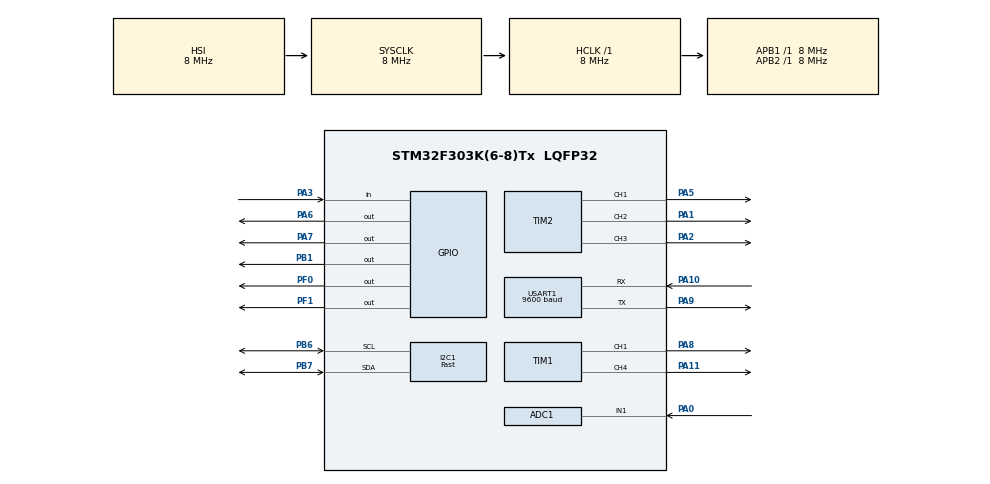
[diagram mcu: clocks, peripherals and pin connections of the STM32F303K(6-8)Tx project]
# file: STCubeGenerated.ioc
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ADC1.Channel-0\#ChannelRegularConversion=ADC_CHANNEL_1
ADC1.ClockPrescaler=ADC_CLOCK_ASYNC_DIV1
ADC1.ContinuousConvMode=ENABLE
ADC1.DMAContinuousRequests=DISABLE
ADC1.DataAlign=ADC_DATAALIGN_RIGHT
ADC1.DiscontinuousConvMode=DISABLE
ADC1.EOCSelection=ADC_EOC_SINGLE_CONV
ADC1.EnableAnalogWatchDog1=false
ADC1.EnableAnalogWatchDog2=false
ADC1.EnableAnalogWatchDog3=false
ADC1.EnableInjectedConversion=ENABLE
ADC1.EnableRegularConversion=ENABLE
ADC1.ExternalTrigConv=ADC_SOFTWARE_START
ADC1.ExternalTrigConvEdge=ADC_EXTERNALTRIGCONVEDGE_NONE
ADC1.InjNumberOfConversion=0
ADC1.LowPowerAutoWait=DISABLE
ADC1.NbrOfConversion=1
ADC1.NbrOfConversionFlag=1
ADC1.Offset-0\#ChannelRegularConversion=0
ADC1.OffsetNumber-0\#ChannelRegularConversion=ADC_OFFSET_NONE
ADC1.Overrun=ADC_OVR_DATA_OVERWRITTEN
ADC1.Rank-0\#ChannelRegularConversion=1
ADC1.Resolution=ADC_RESOLUTION_12B
ADC1.SamplingTime-0\#ChannelRegularConversion=ADC_SAMPLETIME_1CYCLE_5
ADC1.ScanConvMode=ADC_SCAN_DISABLE
ADC1.SubFamily=STM32F303x8
ADC1.master=1
I2C1.I2C_Speed_Mode=I2C_Fast
I2C1.OwnAddress=0x27
I2C1.Timing=0x0000020B
Mcu.Family=STM32F3
Mcu.Name=STM32F303K(6-8)Tx
Mcu.Package=LQFP32
NVIC.PriorityGroup=NVIC_PRIORITYGROUP_4
NVIC.USART1_IRQn=true\:0\:0\:false\:false\:true\:true
PA0.Mode=IN1-Single-Ended
PA0.Signal=ADC1_IN1
PA1.Signal=S_TIM2_CH2
PA10.Mode=Asynchronous
PA10.Signal=USART1_RX
PA11.Signal=S_TIM1_CH4
PA2.Signal=S_TIM2_CH3
PA3.Signal=GPIO_Input
PA5.Signal=S_TIM2_CH1_ETR
PA6.Signal=GPIO_Output
PA7.Signal=GPIO_Output
PA8.Signal=S_TIM1_CH1
PA9.Mode=Asynchronous
PA9.Signal=USART1_TX
PB1.Signal=GPIO_Output
PB6.GPIO_FM6=SYSCFG_CFGR1_I2C_PB6_FMP
PB6.Mode=I2C
PB6.Signal=I2C1_SCL
PB7.GPIO_FM7=SYSCFG_CFGR1_I2C_PB7_FMP
PB7.Mode=I2C
PB7.Signal=I2C1_SDA
PF0\ /\ OSC_IN.Signal=GPIO_Output
PF1\ /\ OSC_OUT.Signal=GPIO_Output
ProjectManager.HeapSize=0x200
ProjectManager.StackSize=0x400
ProjectManager.TargetToolchain=MDK-ARM V5
RCC.AHBFreq_Value=8000000
RCC.APB1Freq_Value=8000000
RCC.APB2Freq_Value=8000000
RCC.CortexFreq_Value=8000000
RCC.HSE_VALUE=8000000
RCC.HSI_VALUE=8000000
RCC.PLLMUL=RCC_PLL_MUL4
RCC.SYSCLKFreq_VALUE=8000000
SH.S_TIM1_CH1.0=TIM1_CH1,PWM Generation1 CH1
SH.S_TIM1_CH4.0=TIM1_CH4,PWM Generation4 CH4
SH.S_TIM2_CH1_ETR.0=TIM2_CH1,PWM Generation1 CH1
SH.S_TIM2_CH2.0=TIM2_CH2,PWM Generation2 CH2
SH.S_TIM2_CH3.0=TIM2_CH3,PWM Generation3 CH3
TIM1.Channel-PWM\ Generation1\ CH1=TIM_CHANNEL_1
TIM1.Channel-PWM\ Generation4\ CH4=TIM_CHANNEL_4
TIM2.Channel-PWM\ Generation1\ CH1=TIM_CHANNEL_1
TIM2.Channel-PWM\ Generation2\ CH2=TIM_CHANNEL_2
TIM2.Channel-PWM\ Generation3\ CH3=TIM_CHANNEL_3
USART1.BaudRate=9600
USART1.VirtualMode-Asynchronous=VM_ASYNC
USART1.WordLength=WORDLENGTH_8B
VP_TIM1_VS_ClockSourceINT.Mode=Internal
VP_TIM2_VS_ClockSourceINT.Mode=Internal
board=STCubeGenerated

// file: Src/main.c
/**
  ******************************************************************************
  * File Name          : main.c
  * Description        : Main program body
  ******************************************************************************
  ** This notice applies to any and all portions of this file
  * that are not between comment pairs USER CODE BEGIN and
  * USER CODE END. Other portions of this file, whether
  * inserted by the user or by software development tools
  * are owned by their respective copyright owners.
  *
  * COPYRIGHT(c) 2019 STMicroelectronics
  *
  * Redistribution and use in source and binary forms, with or without modification,
  * are permitted provided that the following conditions are met:
  *   1. Redistributions of source code must retain the above copyright notice,
  *      this list of conditions and the following disclaimer.
  *   2. Redistributions in binary form must reproduce the above copyright notice,
  *      this list of conditions and the following disclaimer in the documentation
  *      and/or other materials provided with the distribution.
  *   3. Neither the name of STMicroelectronics nor the names of its contributors
  *      may be used to endorse or promote products derived from this software
  *      without specific prior written permission.
  *
  * THIS SOFTWARE IS PROVIDED BY THE COPYRIGHT HOLDERS AND CONTRIBUTORS "AS IS"
  * AND ANY EXPRESS OR IMPLIED WARRANTIES, INCLUDING, BUT NOT LIMITED TO, THE
  * IMPLIED WARRANTIES OF MERCHANTABILITY AND FITNESS FOR A PARTICULAR PURPOSE ARE
  * DISCLAIMED. IN NO EVENT SHALL THE COPYRIGHT HOLDER OR CONTRIBUTORS BE LIABLE
  * FOR ANY DIRECT, INDIRECT, INCIDENTAL, SPECIAL, EXEMPLARY, OR CONSEQUENTIAL
  * DAMAGES (INCLUDING, BUT NOT LIMITED TO, PROCUREMENT OF SUBSTITUTE GOODS OR
  * SERVICES; LOSS OF USE, DATA, OR PROFITS; OR BUSINESS INTERRUPTION) HOWEVER
  * CAUSED AND ON ANY THEORY OF LIABILITY, WHETHER IN CONTRACT, STRICT LIABILITY,
  * OR TORT (INCLUDING NEGLIGENCE OR OTHERWISE) ARISING IN ANY WAY OUT OF THE USE
  * OF THIS SOFTWARE, EVEN IF ADVISED OF THE POSSIBILITY OF SUCH DAMAGE.
  *
  ******************************************************************************
  */

#include "main.h"
#include "stm32f3xx_hal.h"

/* USER CODE BEGIN Includes */
#include "gestion.h"
#include "uart.h"
#include "i2c.h"
#include "adc.h"
#include "pwm.h"

/* USER CODE END Includes */

ADC_HandleTypeDef hadc1;

I2C_HandleTypeDef hi2c1;

TIM_HandleTypeDef htim1;
TIM_HandleTypeDef htim2;

UART_HandleTypeDef huart1;

/* USER CODE BEGIN PV */
/* Private variables ---------------------------------------------------------*/
uint8_t aRxBuffer[2];
Data_Capteur_Humi_Temp Humi_temp_t;
T_humidite_sol humidite_sol;
T_Consignes_Param Consignes_Param = {25,60,50}; // {temperature, Hum.Air, Hum.Sol}
T_Regulateur_Proportionnel Regulateur_Proportionnel = {0,100,0}; // {erreur, Kp, Commande}

/* USER CODE END PV */

void SystemClock_Config(void);
static void MX_GPIO_Init(void);
static void MX_USART1_UART_Init(void);
static void MX_I2C1_Init(void);
static void MX_ADC1_Init(void);
static void MX_TIM1_Init(void);
static void MX_TIM2_Init(void);

void HAL_TIM_MspPostInit(TIM_HandleTypeDef *htim);

/* USER CODE BEGIN PFP */
/* Private function prototypes -----------------------------------------------*/

/* USER CODE END PFP */

int main(void)
{

  /* MCU Configuration----------------------------------------------------------*/

  /* Reset of all peripherals, Initializes the Flash interface and the Systick. */
  HAL_Init();

  /* Configure the system clock */
  SystemClock_Config();

  /* Initialize all configured peripherals */
  MX_GPIO_Init();
  MX_USART1_UART_Init();
  MX_I2C1_Init();
  MX_ADC1_Init();
  MX_TIM1_Init();
  MX_TIM2_Init();

  /* USER CODE BEGIN 2 */
	start_pwm();
	init_uart_IT();
	calib_hum_sol();
	HAL_UART_Receive_IT(&huart1, (uint8_t *)aRxBuffer, 1);

  /* USER CODE END 2 */

  /* Infinite loop */
  /* USER CODE BEGIN WHILE */
  while (1)
  {
		recup_hum_temp_capteur(&Humi_temp_t);
		HAL_Delay(10);
  /* USER CODE END WHILE */

  }

}

/** System Clock Configuration
*/
void SystemClock_Config(void)
{

  RCC_OscInitTypeDef RCC_OscInitStruct;
  RCC_ClkInitTypeDef RCC_ClkInitStruct;
  RCC_PeriphCLKInitTypeDef PeriphClkInit;

    /**Initializes the CPU, AHB and APB busses clocks
    */
  RCC_OscInitStruct.OscillatorType = RCC_OSCILLATORTYPE_HSI;
  RCC_OscInitStruct.HSIState = RCC_HSI_ON;
  RCC_OscInitStruct.HSICalibrationValue = 16;
  RCC_OscInitStruct.PLL.PLLState = RCC_PLL_ON;
  RCC_OscInitStruct.PLL.PLLSource = RCC_PLLSOURCE_HSI;
  RCC_OscInitStruct.PLL.PLLMUL = RCC_PLL_MUL4;
  if (HAL_RCC_OscConfig(&RCC_OscInitStruct) != HAL_OK)
  {
    _Error_Handler(__FILE__, __LINE__);
  }

    /**Initializes the CPU, AHB and APB busses clocks
    */
  RCC_ClkInitStruct.ClockType = RCC_CLOCKTYPE_HCLK|RCC_CLOCKTYPE_SYSCLK
                              |RCC_CLOCKTYPE_PCLK1|RCC_CLOCKTYPE_PCLK2;
  RCC_ClkInitStruct.SYSCLKSource = RCC_SYSCLKSOURCE_HSI;
  RCC_ClkInitStruct.AHBCLKDivider = RCC_SYSCLK_DIV1;
  RCC_ClkInitStruct.APB1CLKDivider = RCC_HCLK_DIV1;
  RCC_ClkInitStruct.APB2CLKDivider = RCC_HCLK_DIV1;

  if (HAL_RCC_ClockConfig(&RCC_ClkInitStruct, FLASH_LATENCY_0) != HAL_OK)
  {
    _Error_Handler(__FILE__, __LINE__);
  }

  PeriphClkInit.PeriphClockSelection = RCC_PERIPHCLK_USART1|RCC_PERIPHCLK_I2C1
                              |RCC_PERIPHCLK_TIM1|RCC_PERIPHCLK_ADC12;
  PeriphClkInit.Usart1ClockSelection = RCC_USART1CLKSOURCE_PCLK1;
  PeriphClkInit.Adc12ClockSelection = RCC_ADC12PLLCLK_DIV1;
  PeriphClkInit.I2c1ClockSelection = RCC_I2C1CLKSOURCE_HSI;
  PeriphClkInit.Tim1ClockSelection = RCC_TIM1CLK_HCLK;
  if (HAL_RCCEx_PeriphCLKConfig(&PeriphClkInit) != HAL_OK)
  {
    _Error_Handler(__FILE__, __LINE__);
  }

    /**Configure the Systick interrupt time
    */
  HAL_SYSTICK_Config(HAL_RCC_GetHCLKFreq()/1000);

    /**Configure the Systick
    */
  HAL_SYSTICK_CLKSourceConfig(SYSTICK_CLKSOURCE_HCLK);

  /* SysTick_IRQn interrupt configuration */
  HAL_NVIC_SetPriority(SysTick_IRQn, 0, 0);
}

/* ADC1 init function */
static void MX_ADC1_Init(void)
{

  ADC_MultiModeTypeDef multimode;
  ADC_ChannelConfTypeDef sConfig;

    /**Common config
    */
  hadc1.Instance = ADC1;
  hadc1.Init.ClockPrescaler = ADC_CLOCK_ASYNC_DIV1;
  hadc1.Init.Resolution = ADC_RESOLUTION_12B;
  hadc1.Init.ScanConvMode = ADC_SCAN_DISABLE;
  hadc1.Init.ContinuousConvMode = ENABLE;
  hadc1.Init.DiscontinuousConvMode = DISABLE;
  hadc1.Init.ExternalTrigConvEdge = ADC_EXTERNALTRIGCONVEDGE_NONE;
  hadc1.Init.ExternalTrigConv = ADC_SOFTWARE_START;
  hadc1.Init.DataAlign = ADC_DATAALIGN_RIGHT;
  hadc1.Init.NbrOfConversion = 1;
  hadc1.Init.DMAContinuousRequests = DISABLE;
  hadc1.Init.EOCSelection = ADC_EOC_SINGLE_CONV;
  hadc1.Init.LowPowerAutoWait = DISABLE;
  hadc1.Init.Overrun = ADC_OVR_DATA_OVERWRITTEN;
  if (HAL_ADC_Init(&hadc1) != HAL_OK)
  {
    _Error_Handler(__FILE__, __LINE__);
  }

    /**Configure the ADC multi-mode
    */
  multimode.Mode = ADC_MODE_INDEPENDENT;
  if (HAL_ADCEx_MultiModeConfigChannel(&hadc1, &multimode) != HAL_OK)
  {
    _Error_Handler(__FILE__, __LINE__);
  }

    /**Configure Regular Channel
    */
  sConfig.Channel = ADC_CHANNEL_1;
  sConfig.Rank = 1;
  sConfig.SingleDiff = ADC_SINGLE_ENDED;
  sConfig.SamplingTime = ADC_SAMPLETIME_1CYCLE_5;
  sConfig.OffsetNumber = ADC_OFFSET_NONE;
  sConfig.Offset = 0;
  if (HAL_ADC_ConfigChannel(&hadc1, &sConfig) != HAL_OK)
  {
    _Error_Handler(__FILE__, __LINE__);
  }

}

/* I2C1 init function */
static void MX_I2C1_Init(void)
{

  hi2c1.Instance = I2C1;
  hi2c1.Init.Timing = 0x0000020B;
  hi2c1.Init.OwnAddress1 = 78;
  hi2c1.Init.AddressingMode = I2C_ADDRESSINGMODE_7BIT;
  hi2c1.Init.DualAddressMode = I2C_DUALADDRESS_DISABLE;
  hi2c1.Init.OwnAddress2 = 0;
  hi2c1.Init.OwnAddress2Masks = I2C_OA2_NOMASK;
  hi2c1.Init.GeneralCallMode = I2C_GENERALCALL_DISABLE;
  hi2c1.Init.NoStretchMode = I2C_NOSTRETCH_DISABLE;
  if (HAL_I2C_Init(&hi2c1) != HAL_OK)
  {
    _Error_Handler(__FILE__, __LINE__);
  }

    /**Configure Analogue filter
    */
  if (HAL_I2CEx_ConfigAnalogFilter(&hi2c1, I2C_ANALOGFILTER_ENABLE) != HAL_OK)
  {
    _Error_Handler(__FILE__, __LINE__);
  }

    /**Configure Digital filter
    */
  if (HAL_I2CEx_ConfigDigitalFilter(&hi2c1, 0) != HAL_OK)
  {
    _Error_Handler(__FILE__, __LINE__);
  }

}

/* TIM1 init function */
static void MX_TIM1_Init(void)
{

  TIM_ClockConfigTypeDef sClockSourceConfig;
  TIM_MasterConfigTypeDef sMasterConfig;
  TIM_OC_InitTypeDef sConfigOC;
  TIM_BreakDeadTimeConfigTypeDef sBreakDeadTimeConfig;

  htim1.Instance = TIM1;
  htim1.Init.Prescaler = 0;
  htim1.Init.CounterMode = TIM_COUNTERMODE_UP;
  htim1.Init.Period = 4000;
  htim1.Init.ClockDivision = TIM_CLOCKDIVISION_DIV1;
  htim1.Init.RepetitionCounter = 0;
  htim1.Init.AutoReloadPreload = TIM_AUTORELOAD_PRELOAD_DISABLE;
  if (HAL_TIM_Base_Init(&htim1) != HAL_OK)
  {
    _Error_Handler(__FILE__, __LINE__);
  }

  sClockSourceConfig.ClockSource = TIM_CLOCKSOURCE_INTERNAL;
  if (HAL_TIM_ConfigClockSource(&htim1, &sClockSourceConfig) != HAL_OK)
  {
    _Error_Handler(__FILE__, __LINE__);
  }

  if (HAL_TIM_PWM_Init(&htim1) != HAL_OK)
  {
    _Error_Handler(__FILE__, __LINE__);
  }

  sMasterConfig.MasterOutputTrigger = TIM_TRGO_RESET;
  sMasterConfig.MasterOutputTrigger2 = TIM_TRGO2_RESET;
  sMasterConfig.MasterSlaveMode = TIM_MASTERSLAVEMODE_DISABLE;
  if (HAL_TIMEx_MasterConfigSynchronization(&htim1, &sMasterConfig) != HAL_OK)
  {
    _Error_Handler(__FILE__, __LINE__);
  }

  sConfigOC.OCMode = TIM_OCMODE_PWM1;
  sConfigOC.Pulse = 0;
  sConfigOC.OCPolarity = TIM_OCPOLARITY_HIGH;
  sConfigOC.OCNPolarity = TIM_OCNPOLARITY_HIGH;
  sConfigOC.OCFastMode = TIM_OCFAST_DISABLE;
  sConfigOC.OCIdleState = TIM_OCIDLESTATE_RESET;
  sConfigOC.OCNIdleState = TIM_OCNIDLESTATE_RESET;
  if (HAL_TIM_PWM_ConfigChannel(&htim1, &sConfigOC, TIM_CHANNEL_1) != HAL_OK)
  {
    _Error_Handler(__FILE__, __LINE__);
  }

  if (HAL_TIM_PWM_ConfigChannel(&htim1, &sConfigOC, TIM_CHANNEL_4) != HAL_OK)
  {
    _Error_Handler(__FILE__, __LINE__);
  }

  sBreakDeadTimeConfig.OffStateRunMode = TIM_OSSR_DISABLE;
  sBreakDeadTimeConfig.OffStateIDLEMode = TIM_OSSI_DISABLE;
  sBreakDeadTimeConfig.LockLevel = TIM_LOCKLEVEL_OFF;
  sBreakDeadTimeConfig.DeadTime = 0;
  sBreakDeadTimeConfig.BreakState = TIM_BREAK_DISABLE;
  sBreakDeadTimeConfig.BreakPolarity = TIM_BREAKPOLARITY_HIGH;
  sBreakDeadTimeConfig.BreakFilter = 0;
  sBreakDeadTimeConfig.Break2State = TIM_BREAK2_DISABLE;
  sBreakDeadTimeConfig.Break2Polarity = TIM_BREAK2POLARITY_HIGH;
  sBreakDeadTimeConfig.Break2Filter = 0;
  sBreakDeadTimeConfig.AutomaticOutput = TIM_AUTOMATICOUTPUT_DISABLE;
  if (HAL_TIMEx_ConfigBreakDeadTime(&htim1, &sBreakDeadTimeConfig) != HAL_OK)
  {
    _Error_Handler(__FILE__, __LINE__);
  }

  HAL_TIM_MspPostInit(&htim1);

}

/* TIM2 init function */
static void MX_TIM2_Init(void)
{

  TIM_ClockConfigTypeDef sClockSourceConfig;
  TIM_MasterConfigTypeDef sMasterConfig;
  TIM_OC_InitTypeDef sConfigOC;

  htim2.Instance = TIM2;
  htim2.Init.Prescaler = 0;
  htim2.Init.CounterMode = TIM_COUNTERMODE_UP;
  htim2.Init.Period = 4000;
  htim2.Init.ClockDivision = TIM_CLOCKDIVISION_DIV1;
  htim2.Init.AutoReloadPreload = TIM_AUTORELOAD_PRELOAD_DISABLE;
  if (HAL_TIM_Base_Init(&htim2) != HAL_OK)
  {
    _Error_Handler(__FILE__, __LINE__);
  }

  sClockSourceConfig.ClockSource = TIM_CLOCKSOURCE_INTERNAL;
  if (HAL_TIM_ConfigClockSource(&htim2, &sClockSourceConfig) != HAL_OK)
  {
    _Error_Handler(__FILE__, __LINE__);
  }

  if (HAL_TIM_PWM_Init(&htim2) != HAL_OK)
  {
    _Error_Handler(__FILE__, __LINE__);
  }

  sMasterConfig.MasterOutputTrigger = TIM_TRGO_RESET;
  sMasterConfig.MasterSlaveMode = TIM_MASTERSLAVEMODE_DISABLE;
  if (HAL_TIMEx_MasterConfigSynchronization(&htim2, &sMasterConfig) != HAL_OK)
  {
    _Error_Handler(__FILE__, __LINE__);
  }

  sConfigOC.OCMode = TIM_OCMODE_PWM1;
  sConfigOC.Pulse = 0;
  sConfigOC.OCPolarity = TIM_OCPOLARITY_HIGH;
  sConfigOC.OCFastMode = TIM_OCFAST_DISABLE;
  if (HAL_TIM_PWM_ConfigChannel(&htim2, &sConfigOC, TIM_CHANNEL_1) != HAL_OK)
  {
    _Error_Handler(__FILE__, __LINE__);
  }

  if (HAL_TIM_PWM_ConfigChannel(&htim2, &sConfigOC, TIM_CHANNEL_2) != HAL_OK)
  {
    _Error_Handler(__FILE__, __LINE__);
  }

  if (HAL_TIM_PWM_ConfigChannel(&htim2, &sConfigOC, TIM_CHANNEL_3) != HAL_OK)
  {
    _Error_Handler(__FILE__, __LINE__);
  }

  HAL_TIM_MspPostInit(&htim2);

}

/* USART1 init function */
static void MX_USART1_UART_Init(void)
{

  huart1.Instance = USART1;
  huart1.Init.BaudRate = 9600;
  huart1.Init.WordLength = UART_WORDLENGTH_8B;
  huart1.Init.StopBits = UART_STOPBITS_1;
  huart1.Init.Parity = UART_PARITY_NONE;
  huart1.Init.Mode = UART_MODE_TX_RX;
  huart1.Init.HwFlowCtl = UART_HWCONTROL_NONE;
  huart1.Init.OverSampling = UART_OVERSAMPLING_16;
  huart1.Init.OneBitSampling = UART_ONE_BIT_SAMPLE_DISABLE;
  huart1.AdvancedInit.AdvFeatureInit = UART_ADVFEATURE_NO_INIT;
  if (HAL_UART_Init(&huart1) != HAL_OK)
  {
    _Error_Handler(__FILE__, __LINE__);
  }

}

/** Configure pins as
        * Analog
        * Input
        * Output
        * EVENT_OUT
        * EXTI
*/
static void MX_GPIO_Init(void)
{

  GPIO_InitTypeDef GPIO_InitStruct;

  /* GPIO Ports Clock Enable */
  __HAL_RCC_GPIOF_CLK_ENABLE();
  __HAL_RCC_GPIOA_CLK_ENABLE();
  __HAL_RCC_GPIOB_CLK_ENABLE();

  /*Configure GPIO pin Output Level */
  HAL_GPIO_WritePin(GPIOF, GPIO_PIN_0|GPIO_PIN_1, GPIO_PIN_RESET);

  /*Configure GPIO pin Output Level */
  HAL_GPIO_WritePin(GPIOA, GPIO_PIN_6|GPIO_PIN_7, GPIO_PIN_RESET);

  /*Configure GPIO pin Output Level */
  HAL_GPIO_WritePin(GPIOB, GPIO_PIN_1, GPIO_PIN_RESET);

  /*Configure GPIO pins : PF0 PF1 */
  GPIO_InitStruct.Pin = GPIO_PIN_0|GPIO_PIN_1;
  GPIO_InitStruct.Mode = GPIO_MODE_OUTPUT_PP;
  GPIO_InitStruct.Pull = GPIO_NOPULL;
  GPIO_InitStruct.Speed = GPIO_SPEED_FREQ_LOW;
  HAL_GPIO_Init(GPIOF, &GPIO_InitStruct);

  /*Configure GPIO pin : PA3 */
  GPIO_InitStruct.Pin = GPIO_PIN_3;
  GPIO_InitStruct.Mode = GPIO_MODE_INPUT;
  GPIO_InitStruct.Pull = GPIO_NOPULL;
  HAL_GPIO_Init(GPIOA, &GPIO_InitStruct);

  /*Configure GPIO pins : PA6 PA7 */
  GPIO_InitStruct.Pin = GPIO_PIN_6|GPIO_PIN_7;
  GPIO_InitStruct.Mode = GPIO_MODE_OUTPUT_PP;
  GPIO_InitStruct.Pull = GPIO_NOPULL;
  GPIO_InitStruct.Speed = GPIO_SPEED_FREQ_LOW;
  HAL_GPIO_Init(GPIOA, &GPIO_InitStruct);

  /*Configure GPIO pin : PB1 */
  GPIO_InitStruct.Pin = GPIO_PIN_1;
  GPIO_InitStruct.Mode = GPIO_MODE_OUTPUT_PP;
  GPIO_InitStruct.Pull = GPIO_NOPULL;
  GPIO_InitStruct.Speed = GPIO_SPEED_FREQ_LOW;
  HAL_GPIO_Init(GPIOB, &GPIO_InitStruct);

}

void _Error_Handler(char * file, int line)
{
  while(1)
  {
  }
}

/************************ (C) COPYRIGHT STMicroelectronics *****END OF FILE****/
